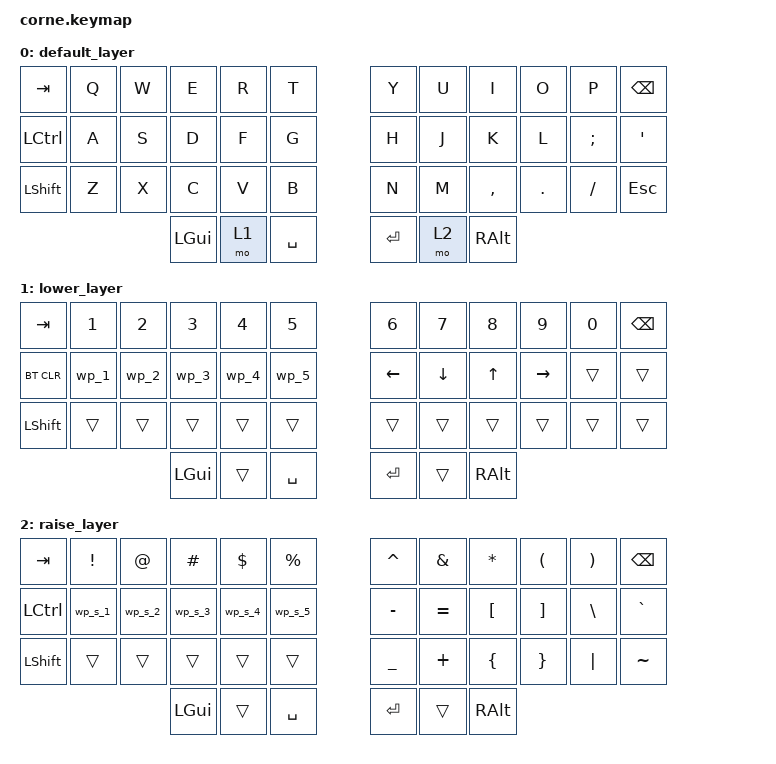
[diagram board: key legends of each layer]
/*
 * Copyright (c) 2020 The ZMK Contributors
 *
 * SPDX-License-Identifier: MIT
 */

#include <behaviors.dtsi>
#include <dt-bindings/zmk/bt.h>
#include <dt-bindings/zmk/keys.h>

/ {
    combos {
        compatible = "zmk,combos";

        workspace_1 {
            bindings = <&wp_1>;
            key-positions = <36 1>;
            timeout-ms = <10>;
            require-prior-idle-ms = <10>;
        };

        workspace_2 {
            bindings = <&wp_2>;
            key-positions = <36 2>;
            timeout-ms = <10>;
            require-prior-idle-ms = <10>;
        };

        workspace_3 {
            bindings = <&wp_3>;
            key-positions = <36 3>;
        };

        workspace_4 {
            bindings = <&wp_4>;
            key-positions = <36 4>;
        };

        workspace_5 {
            bindings = <&wp_5>;
            key-positions = <36 5>;
        };

        workspace_switch_1 {
            bindings = <&wp_s_1>;
            key-positions = <36 12 1>;
        };

        workspace_switch_2 {
            bindings = <&wp_s_2>;
            key-positions = <36 12 2>;
        };

        workspace_switch_3 {
            bindings = <&wp_s_3>;
            key-positions = <36 12 3>;
        };

        workspace_switch_4 {
            bindings = <&wp_s_4>;
            key-positions = <36 12 4>;
        };

        workspace_switch_5 {
            bindings = <&wp_s_5>;
            key-positions = <36 12 5>;
        };
    };

    macros {
        wp_1: wp_1 {
            compatible = "zmk,behavior-macro";
            #binding-cells = <0>;
            bindings =
                <&macro_press>,
                <&kp LEFT_WIN>,
                <&macro_tap>,
                <&kp NUMBER_1>,
                <&macro_release>,
                <&kp LEFT_WIN>;

            label = "WP_1";
        };

        wp_2: wp_2 {
            compatible = "zmk,behavior-macro";
            #binding-cells = <0>;
            bindings =
                <&macro_press>,
                <&kp LEFT_WIN>,
                <&macro_tap>,
                <&kp NUMBER_2>,
                <&macro_release>,
                <&kp LEFT_WIN>;

            label = "WP_2";
        };

        wp_3: wk_e {
            compatible = "zmk,behavior-macro";
            #binding-cells = <0>;
            bindings =
                <&macro_press>,
                <&kp LEFT_WIN>,
                <&macro_tap>,
                <&kp NUMBER_3>,
                <&macro_release>,
                <&kp LEFT_WIN>;

            label = "WK_E";
        };

        wp_4: wp_4 {
            compatible = "zmk,behavior-macro";
            #binding-cells = <0>;
            bindings =
                <&macro_press>,
                <&kp LEFT_WIN>,
                <&macro_tap>,
                <&kp NUMBER_4>,
                <&macro_release>,
                <&kp LEFT_WIN>;

            label = "WP_4";
        };

        wp_5: wp_5 {
            compatible = "zmk,behavior-macro";
            #binding-cells = <0>;
            bindings =
                <&macro_press>,
                <&kp LEFT_WIN>,
                <&macro_tap>,
                <&kp NUMBER_5>,
                <&macro_release>,
                <&kp LEFT_WIN>;

            label = "WP_5";
        };

        wp_s_1: wp_s_1 {
            compatible = "zmk,behavior-macro";
            #binding-cells = <0>;
            bindings =
                <&macro_press>,
                <&kp LEFT_WIN>,
                <&macro_press>,
                <&kp LEFT_SHIFT>,
                <&macro_tap>,
                <&kp NUMBER_1>,
                <&macro_release>,
                <&kp LEFT_WIN>,
                <&macro_release>,
                <&kp LEFT_SHIFT>;

            label = "WP_S_1";
        };

        wp_s_2: wp_s_2 {
            compatible = "zmk,behavior-macro";
            #binding-cells = <0>;
            bindings =
                <&macro_press>,
                <&kp LEFT_WIN>,
                <&macro_press>,
                <&kp LEFT_SHIFT>,
                <&macro_tap>,
                <&kp NUMBER_2>,
                <&macro_release>,
                <&kp LEFT_WIN>,
                <&macro_release>,
                <&kp LEFT_SHIFT>;

            label = "WP_S_2";
        };

        wp_s_3: wp_s_3 {
            compatible = "zmk,behavior-macro";
            #binding-cells = <0>;
            bindings =
                <&macro_press>,
                <&kp LEFT_WIN>,
                <&macro_press>,
                <&kp LEFT_SHIFT>,
                <&macro_tap>,
                <&kp NUMBER_3>,
                <&macro_release>,
                <&kp LEFT_WIN>,
                <&macro_release>,
                <&kp LEFT_SHIFT>;

            label = "WP_S_3";
        };

        wp_s_4: wp_s_4 {
            compatible = "zmk,behavior-macro";
            #binding-cells = <0>;
            bindings =
                <&macro_press>,
                <&kp LEFT_WIN>,
                <&macro_press>,
                <&kp LEFT_SHIFT>,
                <&macro_tap>,
                <&kp NUMBER_4>,
                <&macro_release>,
                <&kp LEFT_WIN>,
                <&macro_release>,
                <&kp LEFT_SHIFT>;

            label = "WP_S_4";
        };

        wp_s_5: wp_s_5 {
            compatible = "zmk,behavior-macro";
            #binding-cells = <0>;
            bindings =
                <&macro_press>,
                <&kp LEFT_WIN>,
                <&macro_press>,
                <&kp LEFT_SHIFT>,
                <&macro_tap>,
                <&kp NUMBER_5>,
                <&macro_release>,
                <&kp LEFT_WIN>,
                <&macro_release>,
                <&kp LEFT_SHIFT>;

            label = "WP_S_5";
        };

        tmux_h: tmux_h {
            compatible = "zmk,behavior-macro";
            #binding-cells = <0>;
            bindings =
                <&macro_press>,
                <&kp RA(H)>,
                <&macro_release>,
                <&kp RA(RS(H))>;

            label = "TMUX_H";
        };

        tmux_l: tmux_l {
            compatible = "zmk,behavior-macro";
            #binding-cells = <0>;
            bindings =
                <&macro_press>,
                <&kp RA(L)>,
                <&macro_release>,
                <&kp RA(RS(L))>;

            label = "TMUX_L";
        };
    };

    keymap {
        compatible = "zmk,keymap";

        default_layer {
            // -----------------------------------------------------------------------------------------
            // |  TAB |  Q  |  W  |  E  |  R  |  T  |   |  Y  |  U   |  I  |  O  |  P  | BSPC |
            // | CTRL |  A  |  S  |  D  |  F  |  G  |   |  H  |  J   |  K  |  L  |  ;  |  '   |
            // | SHFT |  Z  |  X  |  C  |  V  |  B  |   |  N  |  M   |  ,  |  .  |  /  | ESC  |
            //                    | GUI | LWR | SPC |   | ENT | RSE  | ALT |

            bindings = <
&kp TAB    &kp Q  &kp W  &kp E     &kp R  &kp T        &kp Y    &kp U  &kp I      &kp O    &kp P     &kp BSPC
&kp LCTRL  &kp A  &kp S  &kp D     &kp F  &kp G        &kp H    &kp J  &kp K      &kp L    &kp SEMI  &kp SQT
&kp LSHFT  &kp Z  &kp X  &kp C     &kp V  &kp B        &kp N    &kp M  &kp COMMA  &kp DOT  &kp FSLH  &kp ESC
                         &kp LGUI  &mo 1  &kp SPACE    &kp RET  &mo 2  &kp RALT
            >;
        };

        lower_layer {
            // -----------------------------------------------------------------------------------------
            // |  TAB |  1  |  2  |  3  |  4  |  5  |   |  6  |  7  |  8  |  9  |  0  | BSPC |
            // | BTCLR| BT1 | BT2 | BT3 | BT4 | BT5 |   | LFT | DWN |  UP | RGT |     |      |
            // | SHFT |     |     |     |     |     |   |     |     |     |     |     |      |
            //                    | GUI |     | SPC |   | ENT |     | ALT |

            bindings = <
&kp TAB     &kp N1  &kp N2  &kp N3    &kp N4  &kp N5       &kp N6    &kp N7    &kp N8    &kp N9     &kp N0  &kp BSPC
&bt BT_CLR  &wp_1   &wp_2   &wp_3     &wp_4   &wp_5        &kp LEFT  &kp DOWN  &kp UP    &kp RIGHT  &trans  &trans
&kp LSHFT   &trans  &trans  &trans    &trans  &trans       &trans    &trans    &trans    &trans     &trans  &trans
                            &kp LGUI  &trans  &kp SPACE    &kp RET   &trans    &kp RALT
            >;
        };

        raise_layer {
            // -----------------------------------------------------------------------------------------
            // |  TAB |  !  |  @  |  #  |  $  |  %  |   |  ^  |  &  |  *  |  (  |  )  | BSPC |
            // | CTRL |     |     |     |     |     |   |  -  |  =  |  [  |  ]  |  \  |  `   |
            // | SHFT |     |     |     |     |     |   |  _  |  +  |  {  |  }  | "|" |  ~   |
            //                    | GUI |     | SPC |   | ENT |     | ALT |

            bindings = <
&kp TAB    &kp EXCL  &kp AT   &kp HASH  &kp DLLR  &kp PRCNT    &kp CARET  &kp AMPS   &kp ASTRK  &kp LPAR  &kp RPAR  &kp BSPC
&kp LCTRL  &wp_s_1   &wp_s_2  &wp_s_3   &wp_s_4   &wp_s_5      &kp MINUS  &kp EQUAL  &kp LBKT   &kp RBKT  &kp BSLH  &kp GRAVE
&kp LSHFT  &trans    &trans   &trans    &trans    &trans       &kp UNDER  &kp PLUS   &kp LBRC   &kp RBRC  &kp PIPE  &kp TILDE
                              &kp LGUI  &trans    &kp SPACE    &kp RET    &trans     &kp RALT
            >;
        };
    };
};
